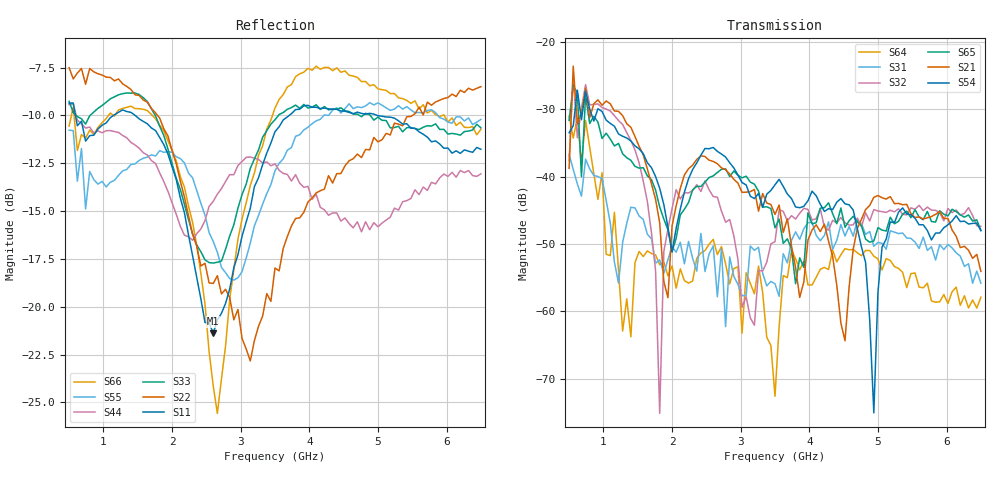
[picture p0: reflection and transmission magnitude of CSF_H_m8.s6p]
!Keysight Technologies,M9804A,MY58100912,A.14.10.03
!Date: Thursday, April 27, 2023 10:28:33
!Correction: S11(C  6-Port  )
!S12(C  6-Port  )
!S13(C  6-Port  )
!S14(C  6-Port  )
!S15(C  6-Port  )
!S16(C  6-Port  )
!S21(C  6-Port  )
!S22(C  6-Port  )
!S23(C  6-Port  )
!S24(C  6-Port  )
!S25(C  6-Port  )
!S26(C  6-Port  )
!S31(C  6-Port  )
!S32(C  6-Port  )
!S33(C  6-Port  )
!S34(C  6-Port  )
!S35(C  6-Port  )
!S36(C  6-Port  )
!S41(C  6-Port  )
!S42(C  6-Port  )
!S43(C  6-Port  )
!S44(C  6-Port  )
!S45(C  6-Port  )
!S46(C  6-Port  )
!S51(C  6-Port  )
!S52(C  6-Port  )
!S53(C  6-Port  )
!S54(C  6-Port  )
!S55(C  6-Port  )
!S56(C  6-Port  )
!S61(C  6-Port  )
!S62(C  6-Port  )
!S63(C  6-Port  )
!S64(C  6-Port  )
!S65(C  6-Port  )
!S66(C  6-Port  )
!S6P File: Measurement: :
# Hz S  RI  R 50
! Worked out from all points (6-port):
!   101 points, 500 MHz to 6.5 GHz, reference 50 ohm
!   strongest paths, dB at 500 MHz, 2 GHz, 3.5 GHz, 5 GHz, 6.5 GHz:
!     S54: -33.5, -51.2, -41.2, -57.2, -48.0
!     S21: -38.8, -47.3, -45.6, -42.8, -54.1
!     S65: -31.7, -51.1, -47.6, -47.6, -48.0
!     S32: -37.6, -44.7, -49.7, -45.1, -47.4
!     S31: -36.7, -50.4, -55.9, -49.8, -55.8
!     S64: -31.0, -53.3, -72.6, -52.2, -57.9
!   lowest |S11| = -21.4 dB at 2.6 GHz (marker M1), VSWR 1.19, Z = 42.4 + j2.24 ohm
!   |S11| at or under -10 dB: 592.6 MHz to 1.149 GHz (556.2 MHz wide, 63.9 % of centre); 1.462 GHz to 3.709 GHz (2.247 GHz wide, 86.9 % of centre); 4.986 GHz to end of sweep
